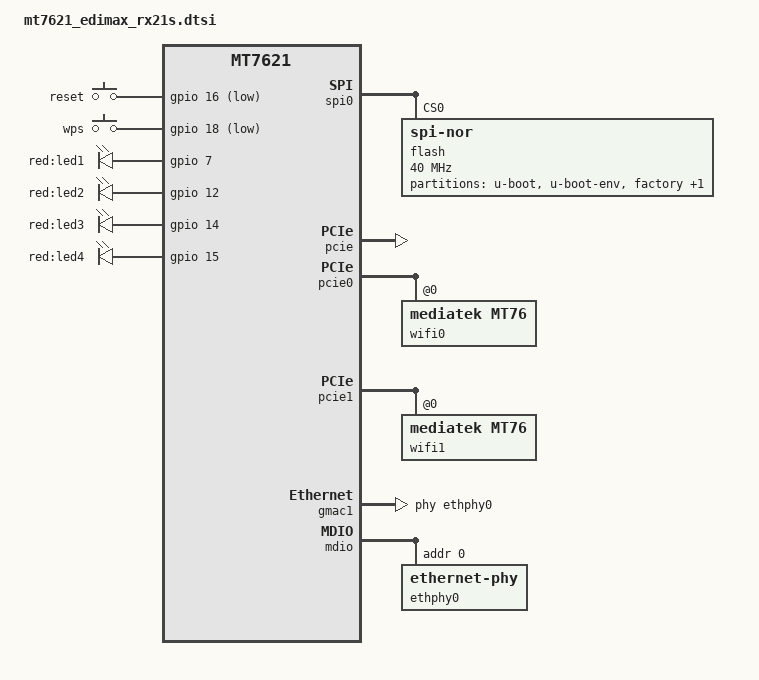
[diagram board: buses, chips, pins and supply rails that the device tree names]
// SPDX-License-Identifier: GPL-2.0-or-later OR MIT

#include "mt7621.dtsi"

#include <dt-bindings/gpio/gpio.h>
#include <dt-bindings/input/input.h>

/ {
	aliases {
		label-mac-device = &gmac0;
		led-boot = &led_power;
		led-failsafe = &led_power;
		led-running = &led_power;
		led-upgrade = &led_power;
	};

	keys {
		compatible = "gpio-keys";

		reset {
			label = "reset";
			gpios = <&gpio 16 GPIO_ACTIVE_LOW>;
			linux,code = <KEY_RESTART>;
		};

		wps {
			label = "wps";
			gpios = <&gpio 18 GPIO_ACTIVE_LOW>;
			linux,code = <KEY_WPS_BUTTON>;
		};
	};

	leds {
		compatible = "gpio-leds";

		led_power: led_1 {
			label = "red:led1";
			gpios = <&gpio 7 GPIO_ACTIVE_HIGH>;
		};

		led_2 {
			label = "red:led2";
			gpios = <&gpio 12 GPIO_ACTIVE_HIGH>;
		};

		led_3 {
			label = "red:led3";
			gpios = <&gpio 14 GPIO_ACTIVE_HIGH>;
		};

		led_4 {
			label = "red:led4";
			gpios = <&gpio 15 GPIO_ACTIVE_HIGH>;
		};
	};
};

&spi0 {
	status = "okay";

	flash@0 {
		compatible = "jedec,spi-nor";
		reg = <0>;
		spi-max-frequency = <40000000>;

		partitions {
			compatible = "fixed-partitions";
			#address-cells = <1>;
			#size-cells = <1>;

			partition@0 {
				label = "u-boot";
				reg = <0x0 0x30000>;
				read-only;
			};

			partition@30000 {
				label = "u-boot-env";
				reg = <0x30000 0x10000>;
				read-only;
			};

			factory: partition@40000 {
				label = "factory";
				reg = <0x40000 0x10000>;
				read-only;
			};

			partition@50000 {
				compatible = "denx,uimage";
				label = "firmware";
				reg = <0x50000 0xfb0000>;
			};
		};
	};
};

&pcie {
	status = "okay";
};

&pcie0 {
	wifi0: wifi@0,0 {
		compatible = "mediatek,mt76";
		reg = <0x0000 0 0 0 0>;
		mediatek,mtd-eeprom = <&factory 0x0000>;
		ieee80211-freq-limit = <2400000 2500000>;
	};
};

&pcie1 {
	wifi1: wifi@0,0 {
		compatible = "mediatek,mt76";
		reg = <0x0000 0 0 0 0>;
		mediatek,mtd-eeprom = <&factory 0x8000>;
		ieee80211-freq-limit = <5000000 6000000>;
	};
};

&gmac0 {
	mtd-mac-address = <&factory 0x4>;
};

&gmac1 {
	status = "okay";
	label = "wan";
	phy-handle = <&ethphy0>;
	mtd-mac-address = <&factory 0x4>;
};

&mdio {
	ethphy0: ethernet-phy@0 {
		reg = <0>;
	};
};

&switch0 {
	ports {
		port@1 {
			status = "okay";
			label = "lan4";
		};

		port@2 {
			status = "okay";
			label = "lan3";
		};

		port@3 {
			status = "okay";
			label = "lan2";
		};

		port@4 {
			status = "okay";
			label = "lan1";
		};
	};
};

&state_default {
	gpio {
		groups = "uart3", "uart2", "jtag", "wdt";
		function = "gpio";
	};
};

&xhci {
	status = "disabled";
};
